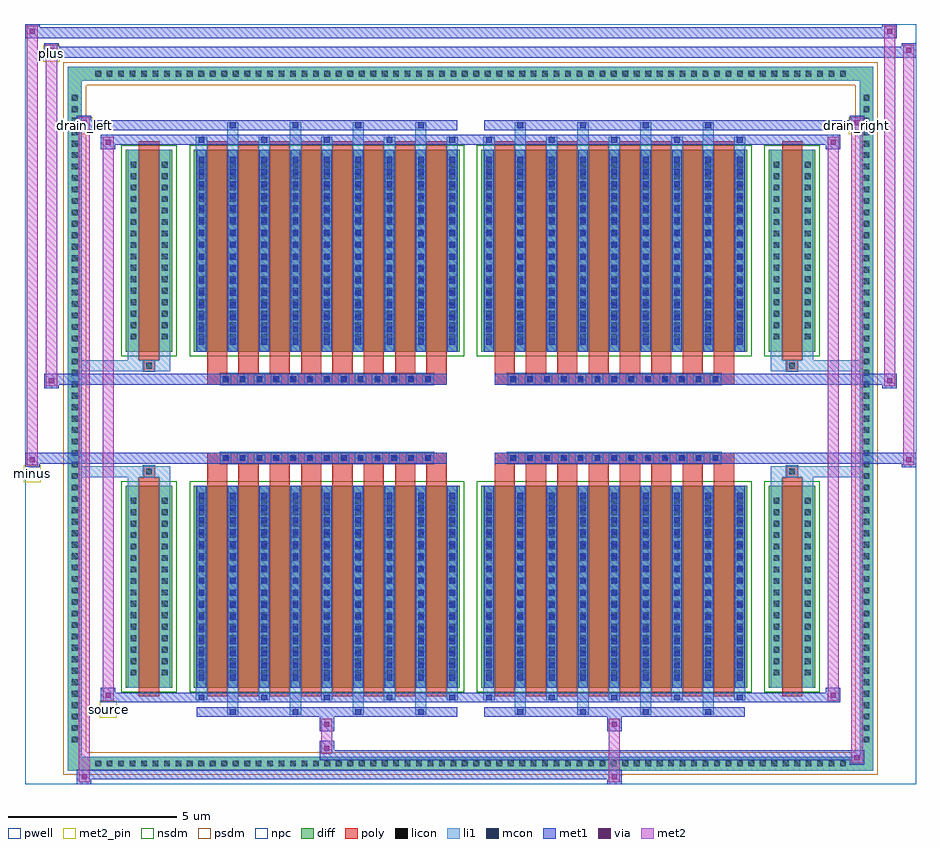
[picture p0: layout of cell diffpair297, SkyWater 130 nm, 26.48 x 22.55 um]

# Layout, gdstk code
import gdstk
lib = gdstk.Library(unit=1e-6, precision=5e-09)
def R(c, l, rs):  # rectangles x0, y0, x1, y1
    for r in rs: c.add(gdstk.rectangle(r[:2], r[2:], *l))
def A(c, l, x, y, w, h, nx, ny, dx, dy):  # array of equal rectangles
    R(c, l, [(x+i*dx, y+j*dy, x+i*dx+w, y+j*dy+h) for i in range(nx) for j in range(ny)])
def P(c, l, *ps):  # polygons
    for p in ps: c.add(gdstk.Polygon(p, *l))
pwell = (64, 44)
diff = (65, 20)
poly = (66, 20)
licon = (66, 44)
li1 = (67, 20)
mcon = (67, 44)
met1 = (68, 20)
via = (68, 44)
met2_pin = (69, 16)
met2 = (69, 20)
nsdm = (93, 44)
psdm = (94, 20)
npc = (95, 20)

diffpair297 = lib.new_cell('diffpair297')
R(diffpair297, pwell, [(-13.22,-10.84,13.22,11.71), (-10.54,-9.03,-0.01,-0.805), (0.01,-9.03,10.54,-0.805), (-10.54,0.805,-0.01,9.03), (0.01,0.805,10.54,9.03)])
A(diffpair297, diff, -11.255, -10.44, 0.41, 0.41, 66, 2, 0.34, 20.47)
A(diffpair297, diff, -11.95, -9.725, 0.41, 0.41, 1, 57, 0, 0.34)
A(diffpair297, diff, 11.54, -9.725, 0.41, 0.41, 1, 57, 0, 0.34)
R(diffpair297, diff, [(-11.255,-10.44,11.255,-10.03), (-11.95,-9.725,-11.54,9.725), (11.54,-9.725,11.95,9.725), (-10.23,-7.985,-8.85,-1.985), (-8.21,-7.985,-0.32,-1.985), (0.32,-7.985,8.21,-1.985), (8.85,-7.985,10.23,-1.985), (-10.23,1.985,-8.85,7.985), (-8.21,1.985,-0.32,7.985), (0.32,1.985,8.21,7.985), (8.85,1.985,10.23,7.985), (-11.255,10.03,11.255,10.44)])
P(diffpair297, diff, [(11.95,10.44),(-11.95,10.44),(-11.95,-10.03),(-11.54,-10.03),(-11.54,10.03),(11.54,10.03),(11.54,-10.03),(-11.54,-10.03),(-11.95,-10.03),(-11.95,-10.44),(11.95,-10.44)])
A(diffpair297, poly, -7.82, -8.235, 0.6, 6.5, 8, 2, 0.93, 9.97)
A(diffpair297, poly, 0.71, -8.235, 0.6, 6.5, 8, 2, 0.93, 9.97)
A(diffpair297, poly, -7.82, -1.735, 0.6, 0.4, 8, 2, 0.93, 3.07)
A(diffpair297, poly, 0.71, -1.735, 0.6, 0.4, 8, 2, 0.93, 3.07)
A(diffpair297, poly, -7.43, -1.335, 0.33, 0.33, 13, 2, 0.5, 2.34)
A(diffpair297, poly, 1.1, -1.335, 0.33, 0.33, 13, 2, 0.5, 2.34)
R(diffpair297, poly, [(-9.84,-8.235,-9.24,-1.735), (9.24,-8.235,9.84,-1.735), (-9.705,-1.735,-9.375,-1.405), (-9.705,-1.735,-9.375,-1.405), (9.375,-1.735,9.705,-1.405), (9.375,-1.735,9.705,-1.405), (-7.82,-1.335,-0.71,-1.005), (0.71,-1.335,7.82,-1.005), (-7.82,1.005,-0.71,1.335), (0.71,1.005,7.82,1.335), (-9.705,1.405,-9.375,1.735), (-9.705,1.405,-9.375,1.735), (9.375,1.405,9.705,1.735), (9.375,1.405,9.705,1.735), (-9.84,1.735,-9.24,8.235), (9.24,1.735,9.84,8.235)])
A(diffpair297, licon, -11.135, -10.32, 0.17, 0.17, 66, 2, 0.34, 20.47)
A(diffpair297, licon, -11.83, -9.605, 0.17, 0.17, 1, 57, 0, 0.34)
A(diffpair297, licon, 11.66, -9.605, 0.17, 0.17, 1, 57, 0, 0.34)
A(diffpair297, licon, -10.09, -7.62, 0.17, 0.17, 1, 16, 0, 0.34)
A(diffpair297, licon, -9.16, -7.62, 0.17, 0.17, 1, 16, 0, 0.34)
A(diffpair297, licon, -8.07, -7.62, 0.17, 0.17, 9, 16, 0.93, 0.34)
A(diffpair297, licon, 0.46, -7.62, 0.17, 0.17, 9, 16, 0.93, 0.34)
A(diffpair297, licon, 8.99, -7.62, 0.17, 0.17, 1, 16, 0, 0.34)
A(diffpair297, licon, 9.92, -7.62, 0.17, 0.17, 1, 16, 0, 0.34)
A(diffpair297, licon, -7.35, -1.255, 0.17, 0.17, 13, 2, 0.5, 2.34)
A(diffpair297, licon, 1.18, -1.255, 0.17, 0.17, 13, 2, 0.5, 2.34)
A(diffpair297, licon, -10.09, 2.35, 0.17, 0.17, 1, 16, 0, 0.34)
A(diffpair297, licon, -9.16, 2.35, 0.17, 0.17, 1, 16, 0, 0.34)
A(diffpair297, licon, -8.07, 2.35, 0.17, 0.17, 9, 16, 0.93, 0.34)
A(diffpair297, licon, 0.46, 2.35, 0.17, 0.17, 9, 16, 0.93, 0.34)
A(diffpair297, licon, 8.99, 2.35, 0.17, 0.17, 1, 16, 0, 0.34)
A(diffpair297, licon, 9.92, 2.35, 0.17, 0.17, 1, 16, 0, 0.34)
R(diffpair297, licon, [(-9.625,-1.655,-9.455,-1.485), (9.455,-1.655,9.625,-1.485), (-9.625,1.485,-9.455,1.655), (9.455,1.485,9.625,1.655)])
A(diffpair297, li1, -11.215, -10.4, 0.33, 0.33, 66, 2, 0.34, 20.47)
A(diffpair297, li1, -11.91, -9.685, 0.33, 0.33, 1, 57, 0, 0.34)
A(diffpair297, li1, 11.58, -9.685, 0.33, 0.33, 1, 57, 0, 0.34)
A(diffpair297, li1, -7.22, -8.79, 0.33, 0.805, 4, 2, 1.86, 16.775)
A(diffpair297, li1, -7.14, -8.79, 0.17, 0.17, 4, 2, 1.86, 17.41)
A(diffpair297, li1, 1.31, -8.79, 0.33, 0.805, 4, 2, 1.86, 16.775)
A(diffpair297, li1, 1.39, -8.79, 0.17, 0.17, 4, 2, 1.86, 17.41)
A(diffpair297, li1, -8.15, -8.36, 0.33, 0.375, 5, 2, 1.86, 16.345)
A(diffpair297, li1, -8.07, -8.36, 0.17, 0.17, 5, 2, 1.86, 16.55)
A(diffpair297, li1, 0.38, -8.36, 0.33, 0.375, 5, 2, 1.86, 16.345)
A(diffpair297, li1, 0.46, -8.36, 0.17, 0.17, 5, 2, 1.86, 16.55)
A(diffpair297, li1, -8.15, -7.985, 0.33, 6, 9, 2, 0.93, 9.97)
A(diffpair297, li1, 0.38, -7.985, 0.33, 6, 9, 2, 0.93, 9.97)
A(diffpair297, li1, -8.07, -7.77, 0.17, 0.17, 9, 16, 0.93, 0.36)
A(diffpair297, li1, -8.07, -7.77, 0.17, 5.57, 9, 2, 0.93, 9.97)
A(diffpair297, li1, 0.46, -7.77, 0.17, 0.17, 9, 16, 0.93, 0.36)
A(diffpair297, li1, 0.46, -7.77, 0.17, 5.57, 9, 2, 0.93, 9.97)
A(diffpair297, li1, -10.17, -7.7, 0.33, 0.33, 1, 16, 0, 0.34)
A(diffpair297, li1, -9.24, -7.7, 0.33, 0.33, 1, 16, 0, 0.34)
A(diffpair297, li1, -8.15, -7.7, 0.33, 0.33, 9, 16, 0.93, 0.34)
A(diffpair297, li1, 0.38, -7.7, 0.33, 0.33, 9, 16, 0.93, 0.34)
A(diffpair297, li1, 8.91, -7.7, 0.33, 0.33, 1, 16, 0, 0.34)
A(diffpair297, li1, 9.84, -7.7, 0.33, 0.33, 1, 16, 0, 0.34)
A(diffpair297, li1, -7.43, -1.335, 0.33, 0.33, 13, 2, 0.5, 2.34)
A(diffpair297, li1, 1.1, -1.335, 0.33, 0.33, 13, 2, 0.5, 2.34)
A(diffpair297, li1, -8.07, 2.2, 0.17, 0.17, 9, 16, 0.93, 0.36)
A(diffpair297, li1, 0.46, 2.2, 0.17, 0.17, 9, 16, 0.93, 0.36)
A(diffpair297, li1, -10.17, 2.27, 0.33, 0.33, 1, 16, 0, 0.34)
A(diffpair297, li1, -9.24, 2.27, 0.33, 0.33, 1, 16, 0, 0.34)
A(diffpair297, li1, -8.15, 2.27, 0.33, 0.33, 9, 16, 0.93, 0.34)
A(diffpair297, li1, 0.38, 2.27, 0.33, 0.33, 9, 16, 0.93, 0.34)
A(diffpair297, li1, 8.91, 2.27, 0.33, 0.33, 1, 16, 0, 0.34)
A(diffpair297, li1, 9.84, 2.27, 0.33, 0.33, 1, 16, 0, 0.34)
R(diffpair297, li1, [(-11.95,-10.44,-11.54,-10.03), (-11.95,-10.44,-11.54,-10.03), (-11.54,-10.44,11.54,-10.03), (11.54,-10.44,11.95,-10.03), (11.54,-10.44,11.95,-10.03), (-11.95,-10.03,-11.54,10.03), (11.54,-10.03,11.95,10.03), (-10.17,-7.985,-9.84,-1.985), (-9.24,-7.985,-8.91,-1.985), (8.91,-7.985,9.24,-1.985), (9.84,-7.985,10.17,-1.985), (-10.17,-1.985,-9.84,-1.405), (-9.24,-1.985,-8.91,-1.405), (8.91,-1.985,9.24,-1.405), (9.84,-1.985,10.17,-1.405), (-11.95,-1.735,-9.705,-1.405), (-10.17,-1.735,-9.705,-1.405), (-9.705,-1.735,-9.375,-1.405), (-9.375,-1.735,-8.91,-1.405), (8.91,-1.735,9.375,-1.405), (9.375,-1.735,9.705,-1.405), (9.375,-1.735,11.95,-1.405), (9.705,-1.735,10.17,-1.405), (-11.95,1.405,-9.705,1.735), (-10.17,1.405,-9.705,1.735), (-10.17,1.405,-9.84,1.985), (-9.705,1.405,-9.375,1.735), (-9.375,1.405,-8.91,1.735), (-9.24,1.405,-8.91,1.985), (8.91,1.405,9.375,1.735), (8.91,1.405,9.24,1.985), (9.375,1.405,9.705,1.735), (9.375,1.405,11.95,1.735), (9.705,1.405,10.17,1.735), (9.84,1.405,10.17,1.985), (-10.17,1.985,-9.84,7.985), (-9.24,1.985,-8.91,7.985), (8.91,1.985,9.24,7.985), (9.84,1.985,10.17,7.985), (-11.95,10.03,-11.54,10.44), (-11.95,10.03,-11.54,10.44), (-11.54,10.03,11.54,10.44), (11.54,10.03,11.95,10.44), (11.54,10.03,11.95,10.44)])
A(diffpair297, mcon, -7.14, -8.79, 0.17, 0.17, 4, 2, 1.86, 17.41)
A(diffpair297, mcon, 1.39, -8.79, 0.17, 0.17, 4, 2, 1.86, 17.41)
A(diffpair297, mcon, -8.07, -8.36, 0.17, 0.17, 5, 2, 1.86, 16.55)
A(diffpair297, mcon, 0.46, -8.36, 0.17, 0.17, 5, 2, 1.86, 16.55)
A(diffpair297, mcon, -8.07, -7.77, 0.17, 0.17, 9, 16, 0.93, 0.36)
A(diffpair297, mcon, 0.46, -7.77, 0.17, 0.17, 9, 16, 0.93, 0.36)
A(diffpair297, mcon, -7.35, -1.255, 0.17, 0.17, 13, 2, 0.5, 2.34)
A(diffpair297, mcon, 1.18, -1.255, 0.17, 0.17, 13, 2, 0.5, 2.34)
A(diffpair297, mcon, -8.07, 2.2, 0.17, 0.17, 9, 16, 0.93, 0.36)
A(diffpair297, mcon, 0.46, 2.2, 0.17, 0.17, 9, 16, 0.93, 0.36)
A(diffpair297, met1, -7.2, -8.85, 0.29, 0.29, 4, 2, 1.86, 17.41)
A(diffpair297, met1, 1.33, -8.85, 0.29, 0.29, 4, 2, 1.86, 17.41)
A(diffpair297, met1, -8.13, -8.42, 0.29, 0.29, 5, 2, 1.86, 16.55)
A(diffpair297, met1, 0.4, -8.42, 0.29, 0.29, 5, 2, 1.86, 16.55)
A(diffpair297, met1, -8.13, -7.985, 0.29, 6, 9, 2, 0.93, 9.97)
A(diffpair297, met1, 0.4, -7.985, 0.29, 6, 9, 2, 0.93, 9.97)
A(diffpair297, met1, -8.13, -7.83, 0.29, 0.29, 9, 16, 0.93, 0.36)
A(diffpair297, met1, 0.4, -7.83, 0.29, 0.29, 9, 16, 0.93, 0.36)
A(diffpair297, met1, -7.41, -1.315, 0.29, 0.29, 13, 2, 0.5, 2.34)
A(diffpair297, met1, 1.12, -1.315, 0.29, 0.29, 13, 2, 0.5, 2.34)
A(diffpair297, met1, -8.13, 2.14, 0.29, 0.29, 9, 16, 0.93, 0.36)
A(diffpair297, met1, 0.4, 2.14, 0.29, 0.29, 9, 16, 0.93, 0.36)
R(diffpair297, met1, [(-11.68,-10.84,-11.25,-10.41), (4.05,-10.84,4.48,-10.41), (-11.68,-10.7,4.48,-10.41), (11.25,-10.27,11.68,-9.84), (-4.48,-10.13,11.68,-9.84), (-4.48,-9.99,-4.05,-9.56), (-4.48,-9.28,-4.05,-8.85), (4.05,-9.28,4.48,-8.85), (-8.13,-8.85,-0.4,-8.56), (0.4,-8.85,8.13,-8.56), (-10.97,-8.42,-10.54,-7.99), (-10.97,-8.42,-8.13,-8.13), (-8.13,-8.42,-0.4,-8.13), (-0.4,-8.42,0.4,-8.13), (0.4,-8.42,8.13,-8.13), (8.13,-8.42,10.97,-8.13), (10.54,-8.42,10.97,-7.99), (-13.22,-1.435,-12.79,-1.005), (12.79,-1.435,13.22,-1.005), (-13.22,-1.335,-0.71,-1.005), (-7.82,-1.335,-0.71,-1.005), (0.71,-1.335,7.82,-1.005), (0.71,-1.335,13.22,-1.005), (-12.65,0.905,-12.22,1.335), (12.22,0.905,12.65,1.335), (-12.65,1.005,-7.82,1.335), (-7.82,1.005,-0.71,1.335), (0.71,1.005,7.82,1.335), (7.82,1.005,12.65,1.335), (-10.97,7.99,-10.54,8.42), (10.54,7.99,10.97,8.42), (-10.97,8.13,-8.13,8.42), (-8.13,8.13,-0.4,8.42), (-0.4,8.13,0.4,8.42), (0.4,8.13,8.13,8.42), (8.13,8.13,10.97,8.42), (-11.68,8.56,-11.25,8.99), (-11.68,8.56,-8.13,8.85), (-8.13,8.56,-0.4,8.85), (0.4,8.56,8.13,8.85), (8.13,8.56,11.68,8.85), (11.25,8.56,11.68,8.99), (-12.65,10.71,-12.22,11.14), (-12.65,10.71,-10.54,11.04), (-10.54,10.71,10.54,11.04), (10.54,10.71,13.22,11.04), (12.79,10.71,13.22,11.14), (-13.22,11.28,-12.79,11.71), (-13.22,11.28,-10.54,11.61), (-10.54,11.28,10.54,11.61), (10.54,11.28,12.65,11.61), (12.22,11.28,12.65,11.71)])
R(diffpair297, via, [(-11.54,-10.7,-11.39,-10.55), (4.19,-10.7,4.34,-10.55), (11.39,-10.13,11.54,-9.98), (-4.34,-9.85,-4.19,-9.7), (-4.34,-9.14,-4.19,-8.99), (4.19,-9.14,4.34,-8.99), (-10.83,-8.28,-10.68,-8.13), (10.68,-8.28,10.83,-8.13), (-13.08,-1.295,-12.93,-1.145), (12.93,-1.295,13.08,-1.145), (-12.51,1.045,-12.36,1.195), (12.36,1.045,12.51,1.195), (-10.83,8.13,-10.68,8.28), (10.68,8.13,10.83,8.28), (-11.54,8.7,-11.39,8.85), (11.39,8.7,11.54,8.85), (-12.51,10.85,-12.36,11), (12.93,10.85,13.08,11), (-13.08,11.42,-12.93,11.57), (12.36,11.42,12.51,11.57)])
R(diffpair297, met2_pin, [(-11.005,-8.87,-10.505,-8.37), (-13.255,-1.885,-12.755,-1.385), (-11.715,8.44,-11.215,8.94), (11.215,8.44,11.715,8.94), (-12.685,10.59,-12.185,11.09)])
R(diffpair297, met2, [(-11.63,-10.79,-11.3,-10.46), (-11.63,-10.79,-11.3,8.94), (4.1,-10.79,4.43,-10.46), (4.1,-10.46,4.43,-9.23), (11.3,-10.22,11.63,-9.89), (11.3,-10.22,11.63,8.94), (-4.43,-9.94,-4.1,-9.61), (-4.43,-9.61,-4.1,-9.23), (-4.43,-9.23,-4.1,-8.9), (4.1,-9.23,4.43,-8.9), (-10.92,-8.37,-10.59,-8.04), (-10.92,-8.37,-10.59,8.37), (10.59,-8.37,10.92,-8.04), (10.59,-8.37,10.92,8.37), (-13.17,-1.385,-12.84,-1.055), (-13.17,-1.385,-12.84,11.66), (12.84,-1.385,13.17,-1.055), (12.84,-1.385,13.17,11.09), (-12.6,0.955,-12.27,1.285), (-12.6,0.955,-12.27,11.09), (12.27,0.955,12.6,1.285), (12.27,0.955,12.6,11.66), (-10.92,8.04,-10.59,8.37), (10.59,8.04,10.92,8.37), (-11.63,8.61,-11.3,8.94), (11.3,8.61,11.63,8.94), (-12.6,10.76,-12.27,11.09), (12.84,10.76,13.17,11.09), (-13.17,11.33,-12.84,11.66), (12.27,11.33,12.6,11.66)])
P(diffpair297, met2, [(13.17,-1.385),(13.17,-1.385),(13.17,-1.055),(13.17,-1.055)],
  [(13.17,10.76),(13.17,10.76),(13.17,11.09),(13.17,11.09)],
  [(-12.84,-1.385),(-12.84,-1.385),(-12.84,-1.055),(-12.84,-1.055)],
  [(-12.84,11.33),(-12.84,11.33),(-12.84,11.66),(-12.84,11.66)],
  [(12.6,0.955),(12.6,0.955),(12.6,1.285),(12.6,1.285)],
  [(12.6,11.33),(12.6,11.33),(12.6,11.66),(12.6,11.66)],
  [(-12.27,0.955),(-12.27,0.955),(-12.27,1.285),(-12.27,1.285)],
  [(-12.27,10.76),(-12.27,10.76),(-12.27,11.09),(-12.27,11.09)],
  [(-11.3,-10.79),(-11.3,-10.79),(-11.3,-10.46),(-11.3,-10.46)],
  [(-11.3,8.61),(-11.3,8.61),(-11.3,8.94),(-11.3,8.94)],
  [(11.63,-10.22),(11.63,-10.22),(11.63,-9.89),(11.63,-9.89)],
  [(11.63,8.61),(11.63,8.61),(11.63,8.94),(11.63,8.94)],
  [(-10.59,-8.37),(-10.59,-8.37),(-10.59,-8.04),(-10.59,-8.04)],
  [(-10.59,8.04),(-10.59,8.04),(-10.59,8.37),(-10.59,8.37)],
  [(10.92,-8.37),(10.92,-8.37),(10.92,-8.04),(10.92,-8.04)],
  [(10.92,8.04),(10.92,8.04),(10.92,8.37),(10.92,8.37)])
R(diffpair297, nsdm, [(-10.36,-8.115,-8.72,-1.855), (-8.34,-8.115,-0.19,-1.855), (0.19,-8.115,8.34,-1.855), (8.72,-8.115,10.36,-1.855), (-10.36,1.855,-8.72,8.115), (-8.34,1.855,-0.19,8.115), (0.19,1.855,8.34,8.115), (8.72,1.855,10.36,8.115)])
P(diffpair297, psdm, [(12.08,10.57),(-12.08,10.57),(-12.08,-9.9),(-11.41,-9.9),(-11.41,9.9),(11.41,9.9),(11.41,-9.9),(-11.41,-9.9),(-12.08,-9.9),(-12.08,-10.57),(12.08,-10.57)])
A(diffpair297, npc, -7.45, -1.355, 0.37, 0.37, 13, 2, 0.5, 2.34)
A(diffpair297, npc, 1.08, -1.355, 0.37, 0.37, 13, 2, 0.5, 2.34)
R(diffpair297, npc, [(-9.725,-1.755,-9.355,-1.385), (9.355,-1.755,9.725,-1.385), (-7.45,-1.355,-6.58,-0.985), (-7.45,-1.355,-6.58,-0.985), (-6.95,-1.355,-6.08,-0.985), (-6.95,-1.355,-6.08,-0.985), (-6.45,-1.355,-5.58,-0.985), (-6.45,-1.355,-5.58,-0.985), (-5.95,-1.355,-5.08,-0.985), (-5.95,-1.355,-5.08,-0.985), (-5.45,-1.355,-4.58,-0.985), (-5.45,-1.355,-4.58,-0.985), (-4.95,-1.355,-4.08,-0.985), (-4.95,-1.355,-4.08,-0.985), (-4.45,-1.355,-3.58,-0.985), (-4.45,-1.355,-3.58,-0.985), (-3.95,-1.355,-3.08,-0.985), (-3.95,-1.355,-3.08,-0.985), (-3.45,-1.355,-2.58,-0.985), (-3.45,-1.355,-2.58,-0.985), (-2.95,-1.355,-2.08,-0.985), (-2.95,-1.355,-2.08,-0.985), (-2.45,-1.355,-1.58,-0.985), (-2.45,-1.355,-1.58,-0.985), (-1.95,-1.355,-1.08,-0.985), (-1.95,-1.355,-1.08,-0.985), (1.08,-1.355,1.95,-0.985), (1.08,-1.355,1.95,-0.985), (1.58,-1.355,2.45,-0.985), (1.58,-1.355,2.45,-0.985), (2.08,-1.355,2.95,-0.985), (2.08,-1.355,2.95,-0.985), (2.58,-1.355,3.45,-0.985), (2.58,-1.355,3.45,-0.985), (3.08,-1.355,3.95,-0.985), (3.08,-1.355,3.95,-0.985), (3.58,-1.355,4.45,-0.985), (3.58,-1.355,4.45,-0.985), (4.08,-1.355,4.95,-0.985), (4.08,-1.355,4.95,-0.985), (4.58,-1.355,5.45,-0.985), (4.58,-1.355,5.45,-0.985), (5.08,-1.355,5.95,-0.985), (5.08,-1.355,5.95,-0.985), (5.58,-1.355,6.45,-0.985), (5.58,-1.355,6.45,-0.985), (6.08,-1.355,6.95,-0.985), (6.08,-1.355,6.95,-0.985), (6.58,-1.355,7.45,-0.985), (6.58,-1.355,7.45,-0.985), (-7.45,0.985,-6.58,1.355), (-7.45,0.985,-6.58,1.355), (-6.95,0.985,-6.08,1.355), (-6.95,0.985,-6.08,1.355), (-6.45,0.985,-5.58,1.355), (-6.45,0.985,-5.58,1.355), (-5.95,0.985,-5.08,1.355), (-5.95,0.985,-5.08,1.355), (-5.45,0.985,-4.58,1.355), (-5.45,0.985,-4.58,1.355), (-4.95,0.985,-4.08,1.355), (-4.95,0.985,-4.08,1.355), (-4.45,0.985,-3.58,1.355), (-4.45,0.985,-3.58,1.355), (-3.95,0.985,-3.08,1.355), (-3.95,0.985,-3.08,1.355), (-3.45,0.985,-2.58,1.355), (-3.45,0.985,-2.58,1.355), (-2.95,0.985,-2.08,1.355), (-2.95,0.985,-2.08,1.355), (-2.45,0.985,-1.58,1.355), (-2.45,0.985,-1.58,1.355), (-1.95,0.985,-1.08,1.355), (-1.95,0.985,-1.08,1.355), (1.08,0.985,1.95,1.355), (1.08,0.985,1.95,1.355), (1.58,0.985,2.45,1.355), (1.58,0.985,2.45,1.355), (2.08,0.985,2.95,1.355), (2.08,0.985,2.95,1.355), (2.58,0.985,3.45,1.355), (2.58,0.985,3.45,1.355), (3.08,0.985,3.95,1.355), (3.08,0.985,3.95,1.355), (3.58,0.985,4.45,1.355), (3.58,0.985,4.45,1.355), (4.08,0.985,4.95,1.355), (4.08,0.985,4.95,1.355), (4.58,0.985,5.45,1.355), (4.58,0.985,5.45,1.355), (5.08,0.985,5.95,1.355), (5.08,0.985,5.95,1.355), (5.58,0.985,6.45,1.355), (5.58,0.985,6.45,1.355), (6.08,0.985,6.95,1.355), (6.08,0.985,6.95,1.355), (6.58,0.985,7.45,1.355), (6.58,0.985,7.45,1.355), (-9.725,1.385,-9.355,1.755), (9.355,1.385,9.725,1.755)])
diffpair297.add(gdstk.Label('minus', (-13.005,-1.635), layer=69, texttype=5))
diffpair297.add(gdstk.Label('drain_right', (11.465,8.69), layer=69, texttype=5))
diffpair297.add(gdstk.Label('drain_left', (-11.465,8.69), layer=69, texttype=5))
diffpair297.add(gdstk.Label('source', (-10.755,-8.62), layer=69, texttype=5))
diffpair297.add(gdstk.Label('plus', (-12.435,10.84), layer=69, texttype=5))

lib.write_gds('diffpair297.gds')
